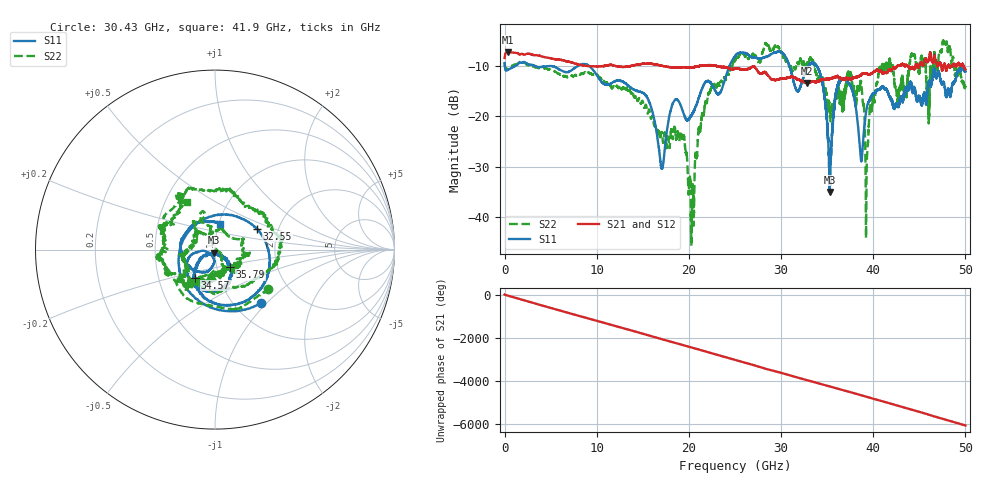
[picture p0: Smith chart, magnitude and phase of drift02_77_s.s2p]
!Created with skrf (http://scikit-rf.org).
# Hz S RI R 50.0
!freq ReS11 ImS11 ReS21 ImS21 ReS12 ImS12 ReS22 ImS22
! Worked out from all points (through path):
!   10001 points, 300 kHz to 50 GHz, reference 50 ohm
!   highest |S21| = -7.32 dB at 320.3 MHz (marker M1); lowest = -13.5 dB at 32.77 GHz (marker M2)
!   group delay of S21, straight-line fit = 335 ps
!   lowest |S11| = -35.0 dB at 35.26 GHz (marker M3), VSWR 1.04, Z = 49.4 - j1.68 ohm
!   |S11| at or under -10 dB: 3.225 GHz to 8.009 GHz (4.784 GHz wide, 85.2 % of centre); 9.107 GHz to 24.42 GHz (15.31 GHz wide, 91.3 % of centre); 33.85 GHz to 49.65 GHz (15.8 GHz wide, 37.8 % of centre) (the widest 3 of 9)
!   |S22| runs from -45.7 to -5.0 dB; largest |S21 - S12| = 0.015
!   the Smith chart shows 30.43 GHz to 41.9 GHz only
!   S11 on the Smith chart (normalised r, x): 30.43 GHz: 1.32, -0.93; 32.55 GHz: 1.55, +0.39; 34.57 GHz: 0.76, -0.25; 35.79 GHz: 1.16, -0.23; 41.9 GHz: 1.02, +0.30
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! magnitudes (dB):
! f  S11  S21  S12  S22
! 300 kHz  -9.5  -8.5  -8.4  -9.4
! 320.3 MHz  -10.9  -7.3  -7.3  -10.6
! 8.335 GHz  -9.7  -9.9  -9.9  -11.6
! 16.67 GHz  -25.5  -9.9  -9.9  -22.8
! 19.31 GHz  -18.9  -10.4  -10.4  -24.5
! 20.37 GHz  -19.5  -10.3  -10.3  -34.5
! 21.94 GHz  -13.1  -10.0  -10.0  -17.2
! 25 GHz  -8.2  -10.6  -10.6  -9.0
! 30.43 GHz  -8.1  -12.5  -12.5  -8.7
! 32.55 GHz  -11.6  -13.1  -13.3  -9.9
! 32.77 GHz  -10.8  -13.5  -13.4  -9.9
! 33.34 GHz  -9.5  -13.2  -13.2  -8.9
! 34.57 GHz  -14.3  -12.8  -12.7  -12.9
! 35.26 GHz  -35.0  -12.6  -12.6  -18.4
! 35.79 GHz  -17.9  -12.2  -12.3  -17.2
! 37.25 GHz  -13.2  -12.6  -12.6  -11.3
! 38.54 GHz  -25.8  -12.1  -12.0  -14.1
! 39.32 GHz  -18.2  -11.6  -11.6  -28.5
! 41.67 GHz  -15.7  -11.0  -11.1  -9.4
! 41.9 GHz  -16.7  -10.9  -10.8  -10.3
! 47.77 GHz  -14.5  -9.8  -9.7  -5.5
! 50 GHz  -11.2  -10.8  -10.8  -14.3
